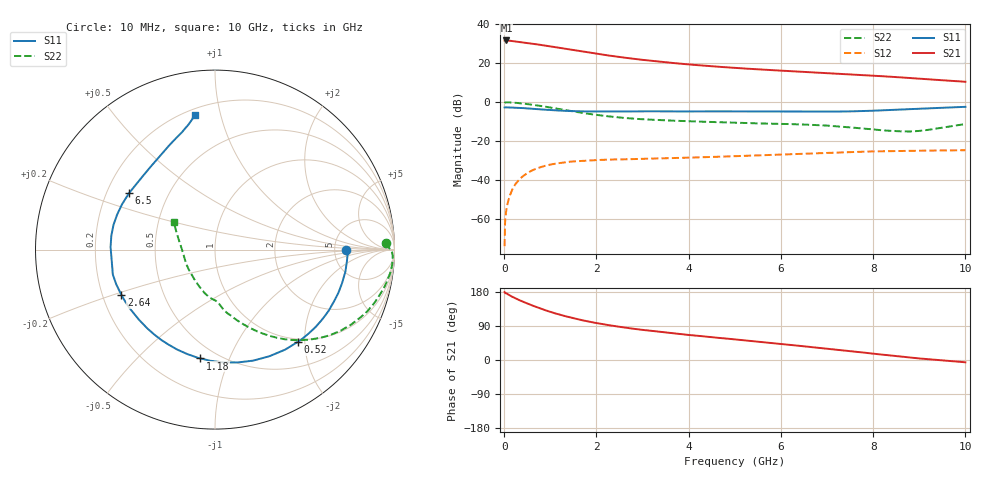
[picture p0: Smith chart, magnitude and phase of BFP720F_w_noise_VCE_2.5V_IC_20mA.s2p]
! Infineon Technologies  Discrete & RF Semiconductors
! BFP720F
! VCE =  2.5 V,  IC =  20 mA
! Common Emitter S-Parameters:  Jan 2016
# GHz  S  MA  R  50
!  f  S11  S21  S12  S22
! GHz  MAG  ANG  MAG  ANG  MAG  ANG  MAG  ANG
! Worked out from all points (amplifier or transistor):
!   233 points, 10 MHz to 10 GHz, reference 50 ohm
!   highest |S21| = 31.7 dB at 50 MHz (marker M1)
!   |S21| within 3 dB of that: start of sweep to 986.2 MHz
!   unconditionally stable (mu >= 1): start of sweep to 14.83 MHz; 5.491 GHz to end of sweep
!   at 200 MHz: K = 0.10, MSG = 37.5 dB, |S12| = -43.7 dB
!   at 1.74 GHz: K = 0.44, MSG = 27.9 dB, |S12| = -30.0 dB
!   at 10 GHz: K = 1.20, MAG = 14.9 dB, |S12| = -24.7 dB
!   lowest NFmin = 0.86 dB at 450 MHz
!   S11 on the Smith chart (normalised r, x): 10 MHz: 6.46, -0.07; 520 MHz: 0.95, -1.86; 1.18 GHz: 0.41, -0.79; 2.64 GHz: 0.28, -0.21; 6.5 GHz: 0.29, +0.28; 10 GHz: 0.23, +0.84
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0.01  0.732 -0.2  38.52 179.3  0.0002 -24.6  0.9534 2.2
0.02  0.7398 -1.6  38.48 176.9  0.0008 100.2  0.9867 -0.9
0.05  0.7381 -4.8  38.56 175.8  0.0018 90.6  0.9906 -2.1
0.15  0.7326 -14.5  37.56 168.5  0.0048 83.1  0.9844 -7.8
0.24  0.7237 -23.0  36.4 162.9  0.0077 78.9  0.9671 -12.3
0.4  0.7072 -37.6  34.4 154.2  0.0123 71.7  0.9265 -20.2
0.52  0.6906 -48.0  32.92 148.2  0.0155 66.9  0.891 -25.4
0.6  0.6809 -54.9  32.05 144.3  0.0175 63.8  0.8656 -28.9
0.8  0.6542 -71.0  29.59 135.2  0.0216 56.7  0.7991 -36.6
1  0.6305 -85.7  27.14 127.0  0.0249 50.6  0.7296 -43.4
1.18  0.6117 -97.6  25.07 120.5  0.0272 46.0  0.6711 -48.7
1.42  0.5939 -111.7  22.53 112.7  0.0295 40.9  0.6007 -54.9
1.68  0.5821 -124.7  20.12 105.3  0.0312 36.6  0.5349 -60.6
2.14  0.5758 -141.8  16.63 94.6  0.0331 31.3  0.4502 -68.6
2.64  0.5796 -154.3  13.79 85.2  0.0342 28.0  0.3905 -75.0
3.4  0.5849 -165.2  10.9 74.1  0.0361 26.2  0.3458 -80.9
4  0.5819 178.6  9.331 66.1  0.0376 25.6  0.3235 -83.4
5.1  0.581 165.2  7.476 53.2  0.0414 25.2  0.2952 -87.1
6.5  0.573 146.6  6.014 36.1  0.0477 22.9  0.2674 -96.7
6.8  0.5705 141.7  5.747 32.3  0.0491 22.1  0.257 -100.3
8.4  0.6328 114.0  4.495 11.5  0.0555 15.8  0.1831 -144.2
10  0.7601 98.4  3.35 -6.0  0.0584 10.2  0.2753 146.6
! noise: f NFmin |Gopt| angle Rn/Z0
0.45  0.86  0.16  0  0.43
0.9  0.89  0.09  -6  0.15
1.8  0.92  0.07  -52  0.15
2.4  0.94  0.08  -58  0.15
5.5  1.06  0.08  -60  0.14
10  1.24  0.38  -81  0.26
